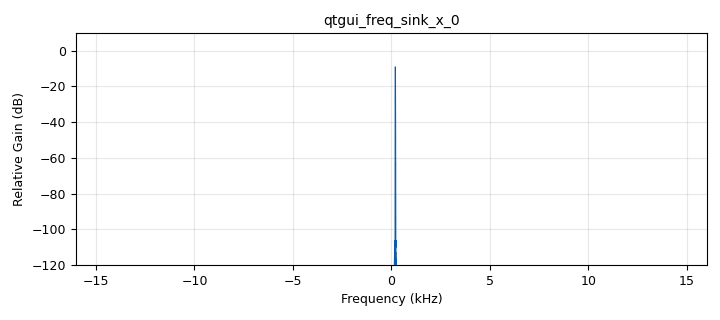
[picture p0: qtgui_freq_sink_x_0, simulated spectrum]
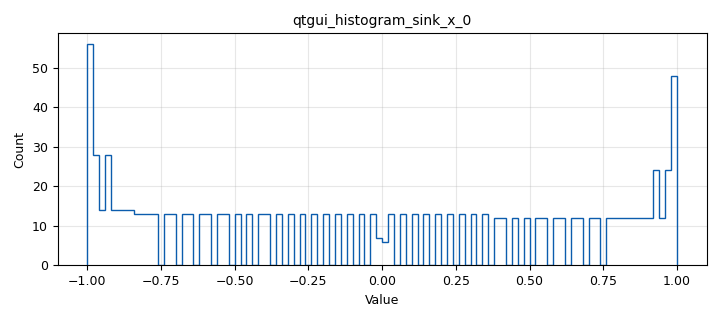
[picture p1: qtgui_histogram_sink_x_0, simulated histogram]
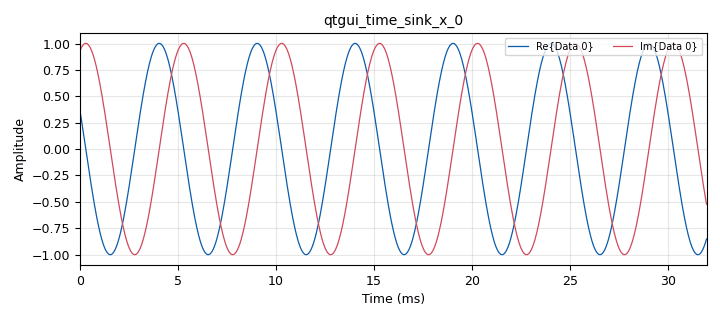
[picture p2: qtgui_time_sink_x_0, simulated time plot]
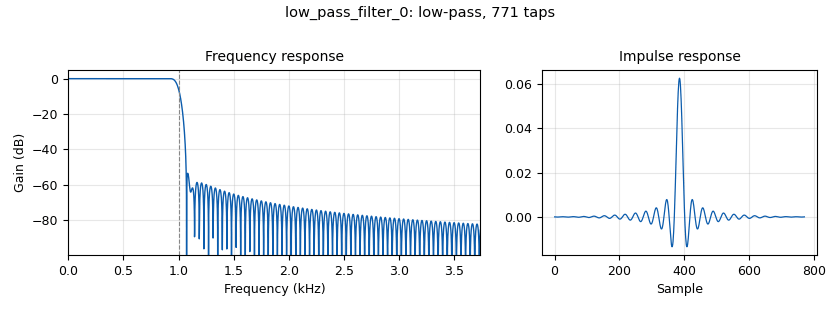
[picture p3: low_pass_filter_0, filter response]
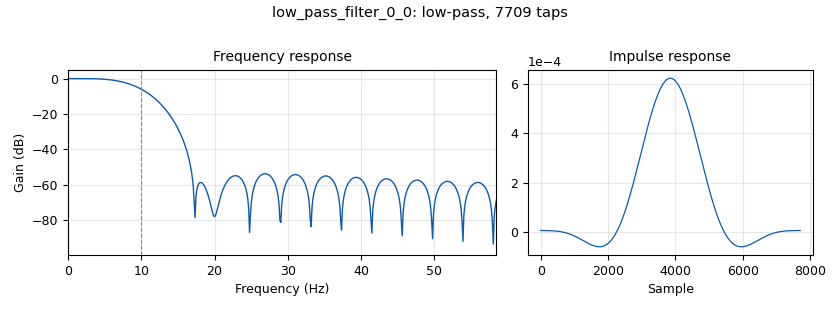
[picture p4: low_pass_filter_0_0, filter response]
options:
  parameters:
    author: rcampello
    generate_options: qt_gui
    id: E1E
    output_language: python
    title: E1E
  states: {}

blocks:
- name: A
  id: variable_qtgui_range
  parameters:
    gui_hint: 0, 0, 1, 2
    orient: Qt.Horizontal
    start: '0'
    step: '0.1'
    stop: '2'
    value: '1'
  states: {}
- name: f0
  id: variable_qtgui_range
  parameters:
    gui_hint: 0, 2, 1, 2
    orient: Qt.Horizontal
    start: '0'
    step: '1'
    stop: '1000'
    value: '200'
  states: {}
- name: fL
  id: variable_qtgui_range
  parameters:
    gui_hint: 1, 2, 1, 2
    orient: Qt.Horizontal
    start: '10'
    step: '1'
    stop: '10000'
    value: '1000'
  states: {}
- name: offs
  id: variable_qtgui_range
  parameters:
    gui_hint: 1, 0, 1, 2
    orient: Qt.Horizontal
    start: '-1'
    step: '0.01'
    stop: '1'
    value: '0'
  states: {}
- name: samp_rate
  id: variable
  parameters:
    value: '32000'
  states: {}
- name: waveform
  id: variable_qtgui_chooser
  parameters:
    gui_hint: 0, 4, 2, 1
    label0: Cosine
    label1: Rectangular
    label2: Triangular
    num_opts: '3'
    option1: '103'
    option2: '104'
    type: int
    value: '102'
    widget: radio_buttons
  states: {}
- name: analog_sig_source_x_0
  id: analog_sig_source_x
  parameters:
    amp: A
    freq: f0
    offset: offs
    phase: '0'
    samp_rate: samp_rate
    type: complex
    waveform: waveform
  states: {}
- name: blocks_complex_to_float_0
  id: blocks_complex_to_float
  parameters: {}
  states: {}
- name: blocks_complex_to_mag_squared_0
  id: blocks_complex_to_mag_squared
  parameters: {}
  states: {}
- name: blocks_complex_to_mag_squared_0_0
  id: blocks_complex_to_mag_squared
  parameters: {}
  states: {}
- name: blocks_complex_to_mag_squared_0_0_0
  id: blocks_complex_to_mag_squared
  parameters: {}
  states: {}
- name: blocks_float_to_complex_0
  id: blocks_float_to_complex
  parameters: {}
  states: {}
- name: blocks_float_to_complex_0_0
  id: blocks_float_to_complex
  parameters: {}
  states: {}
- name: blocks_throttle_0
  id: blocks_throttle
  parameters:
    samples_per_second: samp_rate
    type: complex
  states: {}
- name: low_pass_filter_0
  id: low_pass_filter
  parameters:
    cutoff_freq: fL
    gain: '1'
    interp: '1'
    samp_rate: samp_rate
    type: interp_fir_filter_ccf
    width: 0.1 * fL
    win: firdes.WIN_HAMMING
  states: {}
- name: low_pass_filter_0_0
  id: low_pass_filter
  parameters:
    cutoff_freq: '10'
    decim: '1'
    gain: '1'
    samp_rate: samp_rate
    type: fir_filter_fff
    width: '10'
    win: firdes.WIN_HAMMING
  states: {}
- name: low_pass_filter_0_0_0
  id: low_pass_filter
  parameters:
    cutoff_freq: '10'
    decim: '1'
    gain: '1'
    samp_rate: samp_rate
    type: fir_filter_fff
    width: '10'
    win: firdes.WIN_HAMMING
  states: {}
- name: low_pass_filter_0_0_0_0
  id: low_pass_filter
  parameters:
    cutoff_freq: '10'
    decim: '1'
    gain: '1'
    samp_rate: samp_rate
    type: fir_filter_fff
    width: '10'
    win: firdes.WIN_HAMMING
  states: {}
- name: qtgui_freq_sink_x_0
  id: qtgui_freq_sink_x
  parameters:
    bw: samp_rate
    fc: '0'
    fftsize: 1024 * 8
    gui_hint: 2, 2, 2, 2
    type: complex
    wintype: firdes.WIN_BLACKMAN_hARRIS
    ymin: '-120'
  states: {}
- name: qtgui_histogram_sink_x_0
  id: qtgui_histogram_sink_x
  parameters:
    bins: '100'
    gui_hint: 4, 0, 2, 2
    size: '1024'
    type: float
    xmax: '1'
    xmin: '-1'
  states: {}
- name: qtgui_number_sink_0
  id: qtgui_number_sink
  parameters:
    graph_type: qtgui.NUM_GRAPH_VERT
    gui_hint: 2, 4, 2, 1
    name: '"Avg Power"'
    type: float
  states: {}
- name: qtgui_number_sink_0_0
  id: qtgui_number_sink
  parameters:
    graph_type: qtgui.NUM_GRAPH_VERT
    gui_hint: 4, 2, 1, 1
    name: '"Avg Power REAL"'
    type: float
  states: {}
- name: qtgui_number_sink_0_0_0
  id: qtgui_number_sink
  parameters:
    graph_type: qtgui.NUM_GRAPH_VERT
    gui_hint: 4, 4, 1, 1
    name: '"Avg Power IMAG"'
    type: float
  states: {}
- name: qtgui_time_sink_x_0
  id: qtgui_time_sink_x
  parameters:
    autoscale: 'True'
    grid: 'True'
    gui_hint: 2, 0, 2, 2
    size: '1024'
    srate: samp_rate
    type: complex
  states: {}

connections:
- [analog_sig_source_x_0, '0', blocks_throttle_0, '0']
- [blocks_complex_to_float_0, '0', blocks_float_to_complex_0, '0']
- [blocks_complex_to_float_0, '0', qtgui_histogram_sink_x_0, '0']
- [blocks_complex_to_float_0, '1', blocks_float_to_complex_0_0, '0']
- [blocks_complex_to_mag_squared_0, '0', low_pass_filter_0_0, '0']
- [blocks_complex_to_mag_squared_0_0, '0', low_pass_filter_0_0_0, '0']
- [blocks_complex_to_mag_squared_0_0_0, '0', low_pass_filter_0_0_0_0, '0']
- [blocks_float_to_complex_0, '0', blocks_complex_to_mag_squared_0_0, '0']
- [blocks_float_to_complex_0_0, '0', blocks_complex_to_mag_squared_0_0_0, '0']
- [blocks_throttle_0, '0', low_pass_filter_0, '0']
- [low_pass_filter_0, '0', blocks_complex_to_float_0, '0']
- [low_pass_filter_0, '0', blocks_complex_to_mag_squared_0, '0']
- [low_pass_filter_0, '0', qtgui_freq_sink_x_0, '0']
- [low_pass_filter_0, '0', qtgui_time_sink_x_0, '0']
- [low_pass_filter_0_0, '0', qtgui_number_sink_0, '0']
- [low_pass_filter_0_0_0, '0', qtgui_number_sink_0_0, '0']
- [low_pass_filter_0_0_0_0, '0', qtgui_number_sink_0_0_0, '0']

metadata:
  file_format: 1
